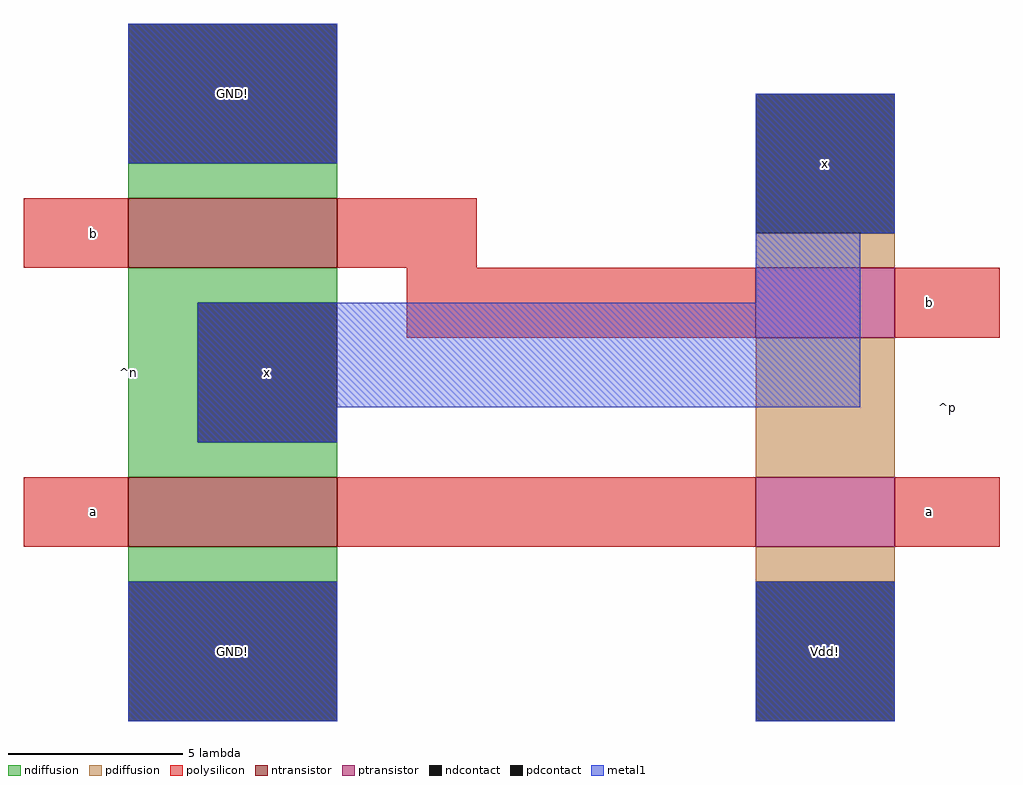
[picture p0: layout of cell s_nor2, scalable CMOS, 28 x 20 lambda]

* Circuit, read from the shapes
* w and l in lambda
.subckt s_nor2 GND! Vdd! a b x
M1 x a GND! VSUBS nfet w=6 l=2
M2 GND! b x VSUBS nfet w=6 l=2
M3 n1 a Vdd! NWELL pfet w=4 l=2
M4 x b n1 NWELL pfet w=4 l=2
.ends

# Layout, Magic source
magic
tech scmos
<< ndiffusion >>
rect -58 298 -52 299
rect -58 295 -52 296
rect -58 291 -56 295
rect -58 290 -52 291
rect -58 287 -52 288
<< pdiffusion >>
rect -40 296 -36 297
rect -40 290 -36 294
rect -40 287 -36 288
<< ntransistor >>
rect -58 296 -52 298
rect -58 288 -52 290
<< ptransistor >>
rect -40 294 -36 296
rect -40 288 -36 290
<< polysilicon >>
rect -61 296 -58 298
rect -52 296 -48 298
rect -50 294 -40 296
rect -36 294 -33 296
rect -61 288 -58 290
rect -52 288 -40 290
rect -36 288 -33 290
<< ndcontact >>
rect -58 299 -52 303
rect -56 291 -52 295
rect -58 283 -52 287
<< pdcontact >>
rect -40 297 -36 301
rect -40 283 -36 287
<< metal1 >>
rect -58 299 -52 303
rect -40 297 -36 301
rect -40 295 -37 297
rect -56 292 -37 295
rect -56 291 -52 292
rect -58 283 -52 287
rect -40 283 -36 287
<< labels >>
rlabel polysilicon -35 289 -35 289 3 a
rlabel polysilicon -35 295 -35 295 3 b
rlabel space -61 282 -55 304 7 ^n
rlabel space -36 283 -33 301 3 ^p
rlabel polysilicon -59 297 -59 297 3 b
rlabel polysilicon -59 289 -59 289 3 a
rlabel pdcontact -38 299 -38 299 5 x
rlabel pdcontact -38 285 -38 285 1 Vdd!
rlabel ndcontact -55 285 -55 285 1 GND!
rlabel ndcontact -55 301 -55 301 1 GND!
rlabel ndcontact -54 293 -54 293 1 x
<< end >>
